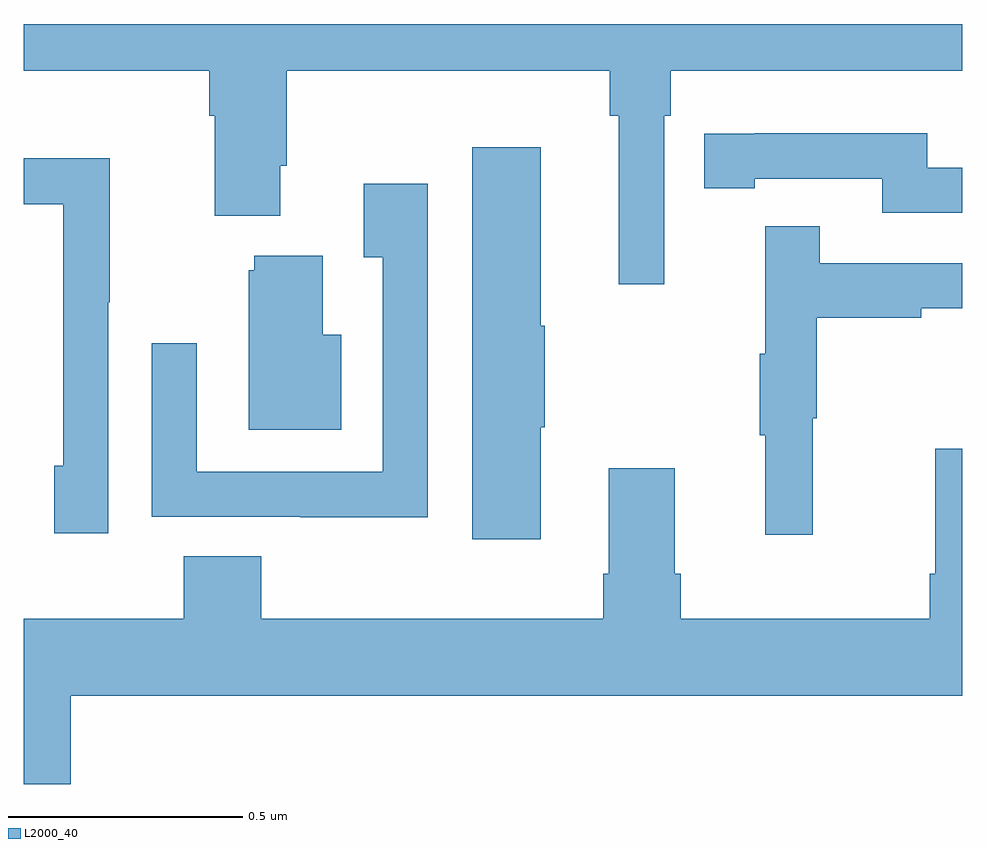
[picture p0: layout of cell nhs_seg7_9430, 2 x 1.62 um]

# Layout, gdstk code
import gdstk
lib = gdstk.Library(unit=1e-6, precision=1e-09)
def P(c, l, *ps):  # polygons
    for p in ps: c.add(gdstk.Polygon(p, *l))
L2000_40 = (2000, 40)

nhs_seg7_9430 = lib.new_cell('nhs_seg7_9430')
P(nhs_seg7_9430, L2000_40, [(238.365,1049.804),(238.379,1049.804),(238.379,1049.9),(239,1049.9),(239,1050),(237,1050),(237,1049.9),(237.395,1049.9),(237.395,1049.804),(237.407,1049.804),(237.407,1049.591),(237.547,1049.591),(237.547,1049.698),(237.56,1049.698),(237.56,1049.9),(238.249,1049.9),(238.249,1049.804),(238.268,1049.804),(238.268,1049.445),(238.365,1049.445)],
  [(239,1049.694),(238.926,1049.694),(238.926,1049.767),(238.558,1049.767),(238.558,1049.766),(238.45,1049.766),(238.45,1049.65),(238.558,1049.65),(238.558,1049.67),(238.83,1049.67),(238.83,1049.598),(239,1049.598)],
  [(238.102,1049.14),(238.11,1049.14),(238.11,1049.357),(238.102,1049.357),(238.102,1049.737),(237.956,1049.737),(237.956,1048.902),(238.102,1048.902)],
  [(237.18,1049.407),(237.183,1049.407),(237.183,1049.714),(237,1049.714),(237,1049.616),(237.084,1049.616),(237.084,1049.058),(237.065,1049.058),(237.065,1048.914),(237.18,1048.914)],
  [(237.861,1049.659),(237.725,1049.659),(237.725,1049.503),(237.765,1049.503),(237.765,1049.046),(237.369,1049.046),(237.369,1049.32),(237.273,1049.32),(237.273,1048.95),(237.589,1048.95),(237.589,1048.949),(237.861,1048.949)],
  [(238.682,1049.16),(238.69,1049.16),(238.69,1049.374),(238.913,1049.374),(238.913,1049.394),(239,1049.394),(239,1049.49),(238.697,1049.49),(238.697,1049.569),(238.58,1049.569),(238.58,1049.297),(238.569,1049.297),(238.569,1049.123),(238.58,1049.123),(238.58,1048.911),(238.682,1048.911)],
  [(237.676,1049.338),(237.637,1049.338),(237.637,1049.506),(237.491,1049.506),(237.491,1049.475),(237.479,1049.475),(237.479,1049.135),(237.676,1049.135)],
  [(237.1,1048.568),(239,1048.568),(239,1049.095),(238.943,1049.095),(238.943,1048.828),(238.931,1048.828),(238.931,1048.732),(238.4,1048.732),(238.4,1048.828),(238.387,1048.828),(238.387,1049.053),(238.247,1049.053),(238.247,1048.828),(238.235,1048.828),(238.235,1048.732),(237.506,1048.732),(237.506,1048.865),(237.341,1048.865),(237.341,1048.732),(237,1048.732),(237,1048.38),(237.1,1048.38)])

lib.write_gds('nhs_seg7_9430.gds')
